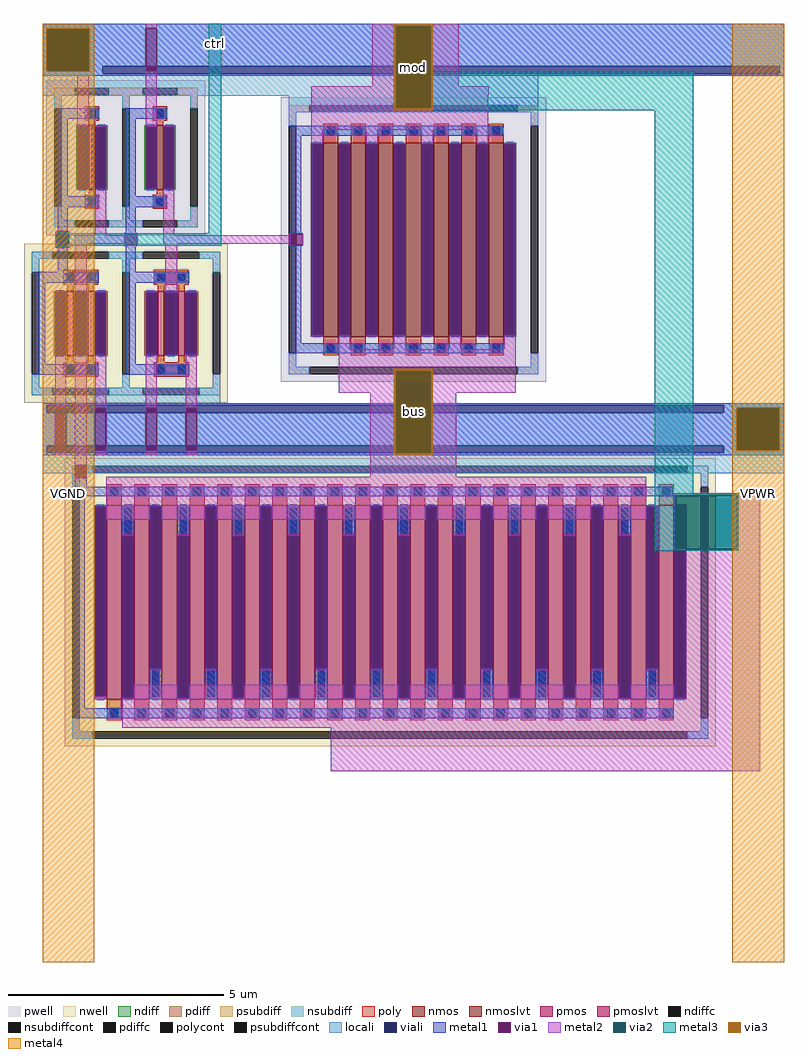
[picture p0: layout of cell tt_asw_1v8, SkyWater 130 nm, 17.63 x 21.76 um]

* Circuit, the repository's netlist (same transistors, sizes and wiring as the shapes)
** sch_path: /home/tnt/consult/tinytapeout/tt_asw_1v8/xschem/tt_asw_1v8.sch
.subckt tt_asw_1v8 VGND VPWR ctrl mod bus
*.iopin VPWR
*.iopin VGND
*.iopin mod
*.iopin bus
*.ipin ctrl
XM4 tgon tgon_n VGND VGND sky130_fd_pr__nfet_01v8 L=0.15 W=1.5 nf=1 ad='int((nf+1)/2) * W/nf * 0.29'
+ as='int((nf+2)/2) * W/nf * 0.29' pd='2*int((nf+1)/2) * (W/nf + 0.29)' ps='2*int((nf+2)/2) * (W/nf + 0.29)'
+ nrd='0.29 / W' nrs='0.29 / W' sa=0 sb=0 sd=0 mult=1 m=1
XM3 tgon tgon_n VPWR VPWR sky130_fd_pr__pfet_01v8 L=0.15 W=3 nf=2 ad='int((nf+1)/2) * W/nf * 0.29' as='int((nf+2)/2) * W/nf * 0.29'
+ pd='2*int((nf+1)/2) * (W/nf + 0.29)' ps='2*int((nf+2)/2) * (W/nf + 0.29)' nrd='0.29 / W' nrs='0.29 / W'
+ sa=0 sb=0 sd=0 mult=1 m=1
XM2 tgon_n ctrl VGND VGND sky130_fd_pr__nfet_01v8 L=0.15 W=1.5 nf=1 ad='int((nf+1)/2) * W/nf * 0.29'
+ as='int((nf+2)/2) * W/nf * 0.29' pd='2*int((nf+1)/2) * (W/nf + 0.29)' ps='2*int((nf+2)/2) * (W/nf + 0.29)'
+ nrd='0.29 / W' nrs='0.29 / W' sa=0 sb=0 sd=0 mult=1 m=1
XM1 tgon_n ctrl VPWR VPWR sky130_fd_pr__pfet_01v8 L=0.15 W=3 nf=2 ad='int((nf+1)/2) * W/nf * 0.29' as='int((nf+2)/2) * W/nf * 0.29'
+ pd='2*int((nf+1)/2) * (W/nf + 0.29)' ps='2*int((nf+2)/2) * (W/nf + 0.29)' nrd='0.29 / W' nrs='0.29 / W'
+ sa=0 sb=0 sd=0 mult=1 m=1
XM6 bus tgon mod VGND sky130_fd_pr__nfet_01v8_lvt L=0.35 W=31.5 nf=7 ad='int((nf+1)/2) * W/nf * 0.29'
+ as='int((nf+2)/2) * W/nf * 0.29' pd='2*int((nf+1)/2) * (W/nf + 0.29)' ps='2*int((nf+2)/2) * (W/nf + 0.29)'
+ nrd='0.29 / W' nrs='0.29 / W' sa=0 sb=0 sd=0 mult=1 m=1
XM5 bus tgon_n mod VPWR sky130_fd_pr__pfet_01v8_lvt L=0.35 W=94.5 nf=21 ad='int((nf+1)/2) * W/nf * 0.29'
+ as='int((nf+2)/2) * W/nf * 0.29' pd='2*int((nf+1)/2) * (W/nf + 0.29)' ps='2*int((nf+2)/2) * (W/nf + 0.29)'
+ nrd='0.29 / W' nrs='0.29 / W' sa=0 sb=0 sd=0 mult=1 m=1
**.ends
.end

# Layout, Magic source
magic
tech sky130A
magscale 1 2
<< locali >>
rect 120 4332 3560 4352
rect 120 4132 140 4332
rect 340 4156 3560 4332
rect 340 4132 400 4156
rect 120 4122 400 4132
rect 3540 4122 3560 4156
rect 120 4112 3560 4122
rect 120 4020 2420 4112
rect 1262 3942 2420 4020
rect 120 2592 944 2664
rect 120 2582 3560 2592
rect 120 2548 140 2582
rect 3280 2572 3560 2582
rect 3280 2548 3340 2572
rect 120 2396 3340 2548
rect 120 2362 140 2396
rect 3280 2372 3340 2396
rect 3540 2372 3560 2572
rect 3280 2362 3560 2372
rect 120 2268 3560 2362
<< viali >>
rect 140 4132 340 4332
rect 400 4122 3540 4156
rect 140 2548 3280 2582
rect 140 2362 3280 2396
rect 3340 2372 3540 2572
<< metal1 >>
rect 120 4332 3560 4352
rect 120 4132 140 4332
rect 340 4156 598 4332
rect 650 4156 3560 4332
rect 340 4132 400 4156
rect 120 4122 400 4132
rect 3540 4122 3560 4156
rect 120 4112 3560 4122
rect 190 3912 378 3962
rect 506 3912 694 3962
rect 190 3552 236 3912
rect 282 3876 334 3882
rect 282 3582 334 3588
rect 364 3876 416 3882
rect 364 3582 416 3588
rect 506 3552 552 3912
rect 598 3876 650 3882
rect 598 3582 650 3588
rect 680 3876 732 3882
rect 680 3582 732 3588
rect 1274 3834 2256 3880
rect 190 3502 378 3552
rect 506 3502 694 3552
rect 190 3388 236 3502
rect 184 3382 242 3388
rect 506 3384 552 3502
rect 1274 3384 1320 3834
rect 1366 3796 1420 3802
rect 184 3316 242 3322
rect 502 3378 556 3384
rect 502 3320 556 3326
rect 1270 3378 1324 3384
rect 1270 3320 1324 3326
rect 190 3202 236 3316
rect 506 3202 552 3320
rect 86 3152 380 3202
rect 506 3152 800 3202
rect 86 2774 132 3152
rect 178 3108 230 3114
rect 178 2812 230 2818
rect 270 3108 324 3114
rect 270 2812 324 2818
rect 364 3108 416 3114
rect 364 2812 416 2818
rect 506 2774 552 3152
rect 598 3108 650 3114
rect 598 2812 650 2818
rect 690 3108 744 3114
rect 690 2812 744 2818
rect 784 3108 836 3114
rect 1274 2870 1320 3320
rect 1366 2902 1420 2908
rect 1494 3796 1548 3802
rect 1494 2902 1548 2908
rect 1622 3796 1676 3802
rect 1622 2902 1676 2908
rect 1750 3796 1804 3802
rect 1750 2902 1804 2908
rect 1878 3796 1932 3802
rect 1878 2902 1932 2908
rect 2006 3796 2060 3802
rect 2006 2902 2060 2908
rect 2134 3796 2188 3802
rect 2134 2902 2188 2908
rect 2262 3796 2316 3802
rect 2262 2902 2316 2908
rect 1274 2824 2256 2870
rect 784 2812 836 2818
rect 86 2724 380 2774
rect 506 2724 800 2774
rect 120 2582 3560 2592
rect 120 2548 140 2582
rect 3280 2572 3560 2582
rect 3280 2548 3340 2572
rect 120 2396 178 2548
rect 230 2396 364 2548
rect 416 2396 598 2548
rect 650 2396 784 2548
rect 836 2396 3340 2548
rect 120 2362 140 2396
rect 3280 2372 3340 2396
rect 3540 2372 3560 2572
rect 3280 2362 3560 2372
rect 120 2352 3560 2362
rect 270 2302 324 2308
rect 270 2206 324 2250
rect 270 2160 3044 2206
rect 270 1178 316 2160
rect 362 2114 416 2120
rect 362 1218 416 1232
rect 490 1978 544 2120
rect 490 1218 544 1224
rect 618 2114 672 2120
rect 618 1218 672 1360
rect 746 1978 800 2120
rect 746 1218 800 1224
rect 874 2114 928 2120
rect 874 1218 928 1360
rect 1002 1978 1056 2120
rect 1002 1218 1056 1224
rect 1130 2114 1184 2120
rect 1130 1218 1184 1360
rect 1258 1978 1312 2120
rect 1258 1218 1312 1224
rect 1386 2114 1440 2120
rect 1386 1218 1440 1360
rect 1514 1978 1568 2120
rect 1514 1218 1568 1224
rect 1642 2114 1696 2120
rect 1642 1218 1696 1360
rect 1770 1978 1824 2120
rect 1770 1218 1824 1224
rect 1898 2114 1952 2120
rect 1898 1218 1952 1360
rect 2026 1978 2080 2120
rect 2026 1218 2080 1224
rect 2154 2114 2208 2120
rect 2154 1218 2208 1360
rect 2282 1978 2336 2120
rect 2282 1218 2336 1224
rect 2410 2114 2464 2120
rect 2410 1218 2464 1360
rect 2538 1978 2592 2120
rect 2538 1218 2592 1224
rect 2666 2114 2720 2120
rect 2666 1218 2720 1360
rect 2794 1978 2848 2120
rect 2794 1218 2848 1224
rect 2922 2114 2976 2120
rect 2922 1218 2976 1360
rect 3050 2114 3104 2120
rect 3050 1218 3104 1224
rect 270 1132 3044 1178
<< via1 >>
rect 140 4132 340 4332
rect 598 4156 650 4332
rect 598 4132 650 4156
rect 282 3588 334 3876
rect 364 3588 416 3876
rect 598 3588 650 3876
rect 680 3588 732 3876
rect 184 3322 242 3382
rect 502 3326 556 3378
rect 1270 3326 1324 3378
rect 178 2818 230 3108
rect 270 2818 324 3108
rect 364 2818 416 3108
rect 598 2818 650 3108
rect 690 2818 744 3108
rect 784 2818 836 3108
rect 1366 2908 1420 3796
rect 1494 2908 1548 3796
rect 1622 2908 1676 3796
rect 1750 2908 1804 3796
rect 1878 2908 1932 3796
rect 2006 2908 2060 3796
rect 2134 2908 2188 3796
rect 2262 2908 2316 3796
rect 178 2548 230 2572
rect 364 2548 416 2572
rect 598 2548 650 2572
rect 784 2548 836 2572
rect 178 2396 230 2548
rect 364 2396 416 2548
rect 598 2396 650 2548
rect 784 2396 836 2548
rect 178 2372 230 2396
rect 364 2372 416 2396
rect 598 2372 650 2396
rect 784 2372 836 2396
rect 3340 2372 3540 2572
rect 270 2250 324 2302
rect 362 1232 416 2114
rect 490 1224 544 1978
rect 618 1360 672 2114
rect 746 1224 800 1978
rect 874 1360 928 2114
rect 1002 1224 1056 1978
rect 1130 1360 1184 2114
rect 1258 1224 1312 1978
rect 1386 1360 1440 2114
rect 1514 1224 1568 1978
rect 1642 1360 1696 2114
rect 1770 1224 1824 1978
rect 1898 1360 1952 2114
rect 2026 1224 2080 1978
rect 2154 1360 2208 2114
rect 2282 1224 2336 1978
rect 2410 1360 2464 2114
rect 2538 1224 2592 1978
rect 2666 1360 2720 2114
rect 2794 1224 2848 1978
rect 2922 1360 2976 2114
rect 3050 1224 3104 2114
<< metal2 >>
rect 120 4332 360 4352
rect 120 4132 140 4332
rect 340 4132 360 4332
rect 120 4112 360 4132
rect 598 4332 650 4352
rect 282 3876 334 4112
rect 282 3582 334 3588
rect 364 3876 416 3882
rect 184 3382 242 3392
rect 364 3372 416 3588
rect 598 3876 650 4132
rect 1650 4342 2050 4352
rect 1650 4062 1756 4342
rect 1366 3962 1756 4062
rect 1924 4062 2050 4342
rect 1924 4026 2190 4062
rect 1924 3962 2188 4026
rect 598 3582 650 3588
rect 680 3876 732 3882
rect 496 3372 502 3378
rect 184 3312 242 3322
rect 270 3332 502 3372
rect 178 3108 230 3114
rect 178 2572 230 2818
rect 178 2352 230 2372
rect 270 3108 324 3332
rect 496 3326 502 3332
rect 556 3326 562 3378
rect 680 3372 732 3588
rect 1366 3862 2188 3962
rect 1366 3796 1420 3862
rect 1264 3372 1270 3378
rect 680 3332 1270 3372
rect 270 2302 324 2818
rect 364 3108 416 3114
rect 364 2572 416 2818
rect 364 2352 416 2372
rect 598 3108 650 3114
rect 598 2572 650 2818
rect 690 3108 744 3332
rect 1264 3326 1270 3332
rect 1324 3326 1330 3378
rect 690 2812 744 2818
rect 784 3108 836 3114
rect 1366 2902 1420 2908
rect 1494 3796 1548 3802
rect 598 2352 650 2372
rect 784 2572 836 2818
rect 1494 2842 1548 2908
rect 1622 3796 1676 3862
rect 1622 2902 1676 2908
rect 1750 3796 1804 3802
rect 1750 2842 1804 2908
rect 1878 3796 1932 3862
rect 1878 2902 1932 2908
rect 2006 3796 2060 3802
rect 2006 2842 2060 2908
rect 2134 3796 2188 3862
rect 2134 2902 2188 2908
rect 2262 3796 2316 3802
rect 2262 2842 2316 2908
rect 1494 2742 2316 2842
rect 1494 2642 1756 2742
rect 784 2352 836 2372
rect 1640 2362 1756 2642
rect 1924 2642 2316 2742
rect 1924 2362 2040 2642
rect 1640 2252 2040 2362
rect 3320 2572 3560 2592
rect 3320 2372 3340 2572
rect 3540 2372 3560 2572
rect 3320 2352 3560 2372
rect 270 2244 324 2250
rect 416 2120 2922 2252
rect 3050 2166 3450 2176
rect 362 2114 2978 2120
rect 416 2052 618 2114
rect 362 1218 416 1232
rect 490 1978 544 1984
rect 672 2052 874 2114
rect 618 1354 672 1360
rect 746 1978 800 1984
rect 544 1224 746 1286
rect 928 2052 1130 2114
rect 874 1354 928 1360
rect 1002 1978 1056 1984
rect 800 1224 1002 1286
rect 1184 2052 1386 2114
rect 1130 1354 1184 1360
rect 1258 1978 1312 1984
rect 1056 1224 1258 1286
rect 1440 2052 1642 2114
rect 1386 1354 1440 1360
rect 1514 1978 1568 1984
rect 1312 1224 1514 1286
rect 1696 2052 1898 2114
rect 1642 1354 1696 1360
rect 1770 1978 1824 1984
rect 1568 1224 1770 1286
rect 1952 2052 2154 2114
rect 1898 1354 1952 1360
rect 2026 1978 2080 1984
rect 1824 1224 2026 1286
rect 2208 2052 2410 2114
rect 2154 1354 2208 1360
rect 2282 1978 2336 1984
rect 2080 1224 2282 1286
rect 2464 2052 2666 2114
rect 2410 1354 2464 1360
rect 2538 1978 2592 1984
rect 2336 1224 2538 1286
rect 2720 2052 2922 2114
rect 2666 1354 2720 1360
rect 2794 1978 2848 1984
rect 2592 1224 2794 1286
rect 2976 2052 2978 2114
rect 3050 2114 3056 2166
rect 2922 1354 2976 1360
rect 3344 1914 3450 2166
rect 2848 1224 3050 1286
rect 3104 1224 3450 1914
rect 490 1086 3450 1224
rect 1458 886 3450 1086
<< via2 >>
rect 140 4132 340 4332
rect 184 3322 242 3382
rect 1756 3962 1924 4342
rect 1756 2362 1924 2742
rect 3340 2372 3540 2572
rect 3056 2114 3344 2166
rect 3056 1914 3104 2114
rect 3104 1914 3344 2114
<< metal3 >>
rect 120 4332 360 4352
rect 120 4132 140 4332
rect 340 4132 360 4332
rect 120 4112 360 4132
rect 178 3382 248 3388
rect 890 3382 950 4352
rect 1750 4346 1930 4352
rect 1750 3958 1756 4346
rect 1924 4132 1930 4346
rect 1924 3958 3140 4132
rect 1750 3952 3140 3958
rect 178 3322 184 3382
rect 242 3322 950 3382
rect 178 3316 248 3322
rect 1750 2746 1930 2752
rect 1750 2358 1756 2746
rect 1924 2358 1930 2746
rect 1750 2352 1930 2358
rect 2960 2172 3140 3952
rect 3320 2572 3560 2592
rect 3320 2372 3340 2572
rect 3540 2372 3560 2572
rect 3320 2352 3560 2372
rect 2960 2166 3350 2172
rect 2960 1914 3056 2166
rect 3344 1914 3350 2166
rect 2960 1908 3350 1914
<< via3 >>
rect 140 4132 340 4332
rect 1756 4342 1924 4346
rect 1756 3962 1924 4342
rect 1756 3958 1924 3962
rect 1756 2742 1924 2746
rect 1756 2362 1924 2742
rect 1756 2358 1924 2362
rect 3340 2372 3540 2572
<< metal4 >>
rect 120 4332 360 4352
rect 120 4132 140 4332
rect 340 4132 360 4332
rect 120 0 360 4132
rect 1750 4346 1930 4352
rect 1750 3958 1756 4346
rect 1924 3958 1930 4346
rect 1750 3952 1930 3958
rect 1750 2746 1930 2752
rect 1750 2358 1756 2746
rect 1924 2358 1930 2746
rect 1750 2352 1930 2358
rect 3320 2572 3560 4352
rect 3320 2372 3340 2572
rect 3540 2372 3560 2572
rect 3320 0 3560 2372
use sky130_fd_pr__nfet_01v8_lvt_9LK66Y  sky130_fd_pr__nfet_01v8_lvt_9LK66Y_0
transform 1 0 1841 0 1 3352
box -615 -660 615 660
use sky130_fd_pr__nfet_01v8_NRQ53D  sky130_fd_pr__nfet_01v8_NRQ53D_0
transform 1 0 665 0 1 3732
box -211 -360 211 360
use sky130_fd_pr__nfet_01v8_NRQ53D  sky130_fd_pr__nfet_01v8_NRQ53D_1
transform 1 0 349 0 1 3732
box -211 -360 211 360
use sky130_fd_pr__pfet_01v8_lvt_MUCXQQ  sky130_fd_pr__pfet_01v8_lvt_MUCXQQ_0
transform 1 0 1733 0 1 1669
box -1511 -669 1511 669
use sky130_fd_pr__pfet_01v8_XJBLHL  sky130_fd_pr__pfet_01v8_XJBLHL_0
transform 1 0 297 0 1 2963
box -263 -369 263 369
use sky130_fd_pr__pfet_01v8_XJBLHL  sky130_fd_pr__pfet_01v8_XJBLHL_1
transform 1 0 717 0 1 2963
box -263 -369 263 369
<< labels >>
rlabel metal4 120 0 360 4352 1 VGND
port 1 n ground input
rlabel metal4 3320 0 3560 4352 1 VPWR
port 2 n power input
rlabel metal3 890 4172 950 4352 1 ctrl
port 3 n signal input
rlabel metal4 1750 3952 1930 4352 1 mod
port 4 n analog bidirectional
rlabel metal4 1750 2352 1930 2752 1 bus
port 5 n analog bidirectional
<< properties >>
string FIXED_BBOX 0 0 3680 4352
<< end >>

# cell sky130_fd_pr__nfet_01v8_lvt_9LK66Y: kit device sky130_fd_pr__nfet_01v8_lvt, w 4.5 l 0.350 m 1 nf 7 diffcov 100 polycov 100 guard 1 glc 1 grc 1 gtc 1 gbc 1 tbcov 100 rlcov 100 topc 1 botc 1 poverlap 0 doverlap 1 lmin 0.15 wmin 0.42 compatible {sky130_fd_pr__nfet_01v8 sky130_fd_pr__nfet_01v8_lvt sky130_fd_bs_flash__special_sonosfet_star sky130_fd_pr__nfet_g5v0d10v5 sky130_fd_pr__nfet_05v0_nvt sky130_fd_pr__nfet_03v3_nvt} full_metal 1 viasrc 100 viadrn 100 viagate 100 viagb 0 viagr 0 viagl 0 viagt 0

# cell sky130_fd_pr__nfet_01v8_NRQ53D: kit device sky130_fd_pr__nfet_01v8, w 1.5 l 0.150 m 1 nf 1 diffcov 100 polycov 100 guard 1 glc 1 grc 1 gtc 1 gbc 1 tbcov 100 rlcov 100 topc 1 botc 1 poverlap 0 doverlap 1 lmin 0.15 wmin 0.42 compatible {sky130_fd_pr__nfet_01v8 sky130_fd_pr__nfet_01v8_lvt sky130_fd_bs_flash__special_sonosfet_star sky130_fd_pr__nfet_g5v0d10v5 sky130_fd_pr__nfet_05v0_nvt sky130_fd_pr__nfet_03v3_nvt} full_metal 1 viasrc 100 viadrn 100 viagate 100 viagb 0 viagr 0 viagl 0 viagt 0

# cell sky130_fd_pr__pfet_01v8_lvt_MUCXQQ: kit device sky130_fd_pr__pfet_01v8_lvt, w 4.5 l 0.35 m 1 nf 21 diffcov 100 polycov 100 guard 1 glc 1 grc 1 gtc 1 gbc 1 tbcov 100 rlcov 100 topc 1 botc 1 poverlap 0 doverlap 1 lmin 0.35 wmin 0.42 compatible {sky130_fd_pr__pfet_01v8 sky130_fd_pr__pfet_01v8_lvt sky130_fd_pr__pfet_01v8_hvt sky130_fd_pr__pfet_g5v0d10v5} full_metal 1 viasrc 100 viadrn 100 viagate 100 viagb 0 viagr 0 viagl 0 viagt 0

# cell sky130_fd_pr__pfet_01v8_XJBLHL: kit device sky130_fd_pr__pfet_01v8, w 1.5 l 0.15 m 1 nf 2 diffcov 100 polycov 100 guard 1 glc 1 grc 1 gtc 1 gbc 1 tbcov 100 rlcov 100 topc 1 botc 1 poverlap 0 doverlap 1 lmin 0.15 wmin 0.42 compatible {sky130_fd_pr__pfet_01v8 sky130_fd_pr__pfet_01v8_lvt sky130_fd_pr__pfet_01v8_hvt sky130_fd_pr__pfet_g5v0d10v5} full_metal 1 viasrc 100 viadrn 100 viagate 100 viagb 0 viagr 0 viagl 0 viagt 0
